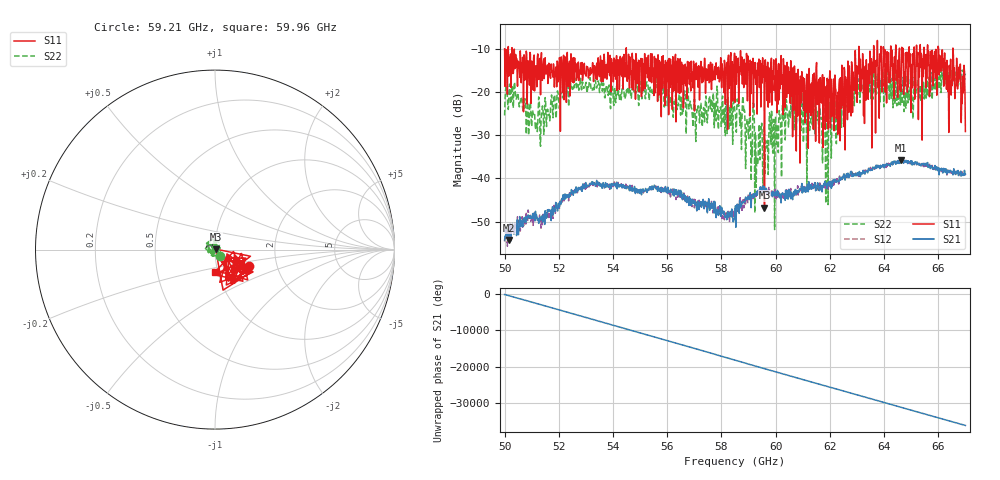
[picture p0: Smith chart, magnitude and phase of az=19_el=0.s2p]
!Created with skrf (http://scikit-rf.org).
# GHz S RI R 50.0
!freq ReS11 ImS11 ReS21 ImS21 ReS12 ImS12 ReS22 ImS22
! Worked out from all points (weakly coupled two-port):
!   1001 points, 50 GHz to 67 GHz, reference 50 ohm
!   highest |S21| = -35.76 dB at 64.62 GHz (marker M1); lowest = -54.3 dB at 50.17 GHz (marker M2)
!   lowest |S11| = -46.7 dB at 59.59 GHz (marker M3), VSWR 1.01, Z = 50.4 + j0.273 ohm
!   |S11| at or under -10 dB: 50.27 GHz to 54.49 GHz (4.215 GHz wide, 8.05 % of centre); 54.49 GHz to 63.07 GHz (8.582 GHz wide, 14.6 % of centre); 63.08 GHz to 63.62 GHz (538.4 MHz wide, 0.85 % of centre) (the widest 3 of 22)
!   |S22| runs from -51.8 to -13.9 dB; largest |S21 - S12| = 0.0022
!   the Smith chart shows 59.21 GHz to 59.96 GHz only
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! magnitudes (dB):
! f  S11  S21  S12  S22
! 50 GHz  -10.0  -54.2  -54.6  -25.4
! 50.17 GHz  -15.1  -54.3  -53.1  -18.6
! 51.38 GHz  -17.0  -48.7  -49.7  -24.1
! 52.84 GHz  -14.3  -41.9  -42.2  -19.5
! 55.68 GHz  -13.5  -42.2  -42.0  -22.0
! 57 GHz  -24.4  -45.6  -46.8  -21.7
! 57.62 GHz  -15.4  -46.0  -46.3  -21.5
! 58.5 GHz  -22.4  -47.8  -47.0  -24.6
! 59.3 GHz  -15.0  -43.0  -43.9  -35.3
! 59.59 GHz  -46.7  -42.0  -42.8  -29.5
! 60.64 GHz  -14.4  -43.8  -43.8  -22.2
! 61.34 GHz  -24.6  -41.8  -41.1  -25.2
! 61.88 GHz  -26.8  -42.3  -42.2  -22.7
! 62.61 GHz  -20.4  -38.9  -39.3  -20.7
! 63.01 GHz  -22.4  -38.8  -39.0  -20.2
! 63.33 GHz  -21.9  -38.5  -38.1  -19.4
! 64.18 GHz  -17.8  -36.9  -36.8  -18.3
! 64.62 GHz  -19.9  -35.8  -36.1  -19.4
! 66.08 GHz  -15.2  -38.2  -38.2  -15.5
! 66.42 GHz  -15.7  -38.2  -38.9  -16.3
! 66.75 GHz  -17.6  -39.3  -38.6  -18.3
! 67 GHz  -29.1  -39.0  -38.7  -15.8
